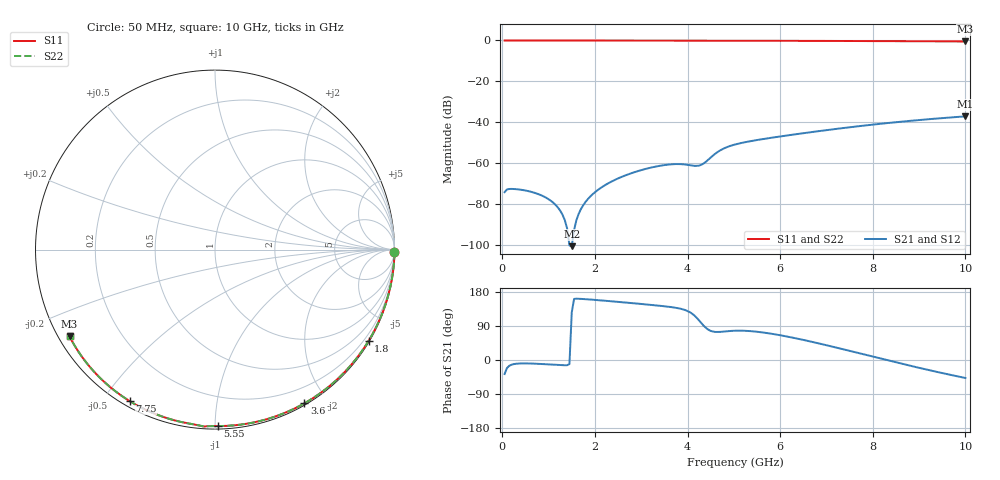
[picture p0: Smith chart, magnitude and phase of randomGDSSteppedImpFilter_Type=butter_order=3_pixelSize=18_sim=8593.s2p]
! freq	dB(S11)	phase(S11)	dB(S12)	phase(S12)
!  dB(S21)	phase(S21)	dB(S22)	phase(S22)
!S-par simulation data
#  GHz  S  DB  R 50
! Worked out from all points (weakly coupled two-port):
!   200 points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, 50 MHz to 10 GHz, reference 50 ohm
!   highest |S21| = -37.18 dB at 10 GHz (marker M1); lowest = -100.7 dB at 1.5 GHz (marker M2)
!   lowest |S11| = -0.5 dB at 10 GHz (marker M3), VSWR 34.69, Z = 1.55 - j13.8 ohm
!   |S11| at or under -10 dB: nowhere
!   |S22| runs from -0.5 to 0.0 dB; largest |S21 - S12| = 0
!   S11 on the Smith chart (normalised r, x): 50 MHz: open; 1.8 GHz: 0.03, -3.64; 3.6 GHz: 0.02, -1.74; 5.55 GHz: 0.02, -1.01; 7.75 GHz: 0.02, -0.58; 10 GHz: 0.03, -0.28
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0.05  -0.00 -0.9  -74.30 -37.0  -74.30 -37.0  -0.00 -0.9
0.15  -0.00 -2.6  -72.74 -15.3  -72.74 -15.3  -0.00 -2.6
0.45  -0.00 -7.8  -73.27 -9.0  -73.27 -9.0  -0.01 -7.8
0.85  -0.01 -14.7  -75.92 -10.6  -75.92 -10.6  -0.01 -14.7
1.15  -0.02 -19.8  -80.51 -12.7  -80.51 -12.7  -0.02 -19.8
1.5  -0.03 -25.7  -100.74 125.6  -100.74 125.6  -0.03 -25.7
1.75  -0.04 -29.9  -80.60 160.9  -80.60 160.9  -0.04 -29.9
1.8  -0.04 -30.7  -79.00 160.5  -79.00 160.5  -0.04 -30.7
2.05  -0.04 -34.8  -73.44 158.1  -73.44 158.1  -0.04 -34.8
2.4  -0.05 -40.6  -68.62 154.5  -68.62 154.5  -0.05 -40.6
2.9  -0.06 -48.7  -64.17 149.0  -64.17 149.0  -0.06 -48.7
3.4  -0.08 -56.7  -61.39 143.1  -61.39 143.1  -0.08 -56.7
3.6  -0.08 -59.8  -60.76 140.4  -60.76 140.4  -0.08 -59.8
4.25  -0.10 -69.9  -61.29 104.3  -61.29 104.3  -0.10 -69.9
4.35  -0.10 -71.4  -60.21 90.3  -60.21 90.3  -0.10 -71.4
4.7  -0.11 -76.6  -53.90 74.2  -53.90 74.2  -0.11 -76.6
5.05  -0.13 -81.8  -50.81 77.3  -50.81 77.3  -0.13 -81.8
5.55  -0.15 -89.1  -48.58 73.8  -48.58 73.8  -0.15 -89.1
6.7  -0.20 -105.1  -44.80 47.6  -44.80 47.6  -0.20 -105.1
7.75  -0.28 -119.4  -41.85 16.5  -41.85 16.5  -0.28 -119.4
8.35  -0.33 -127.3  -40.37 -1.7  -40.37 -1.7  -0.33 -127.3
10  -0.50 -149.2  -37.18 -47.5  -37.18 -47.5  -0.50 -149.2
